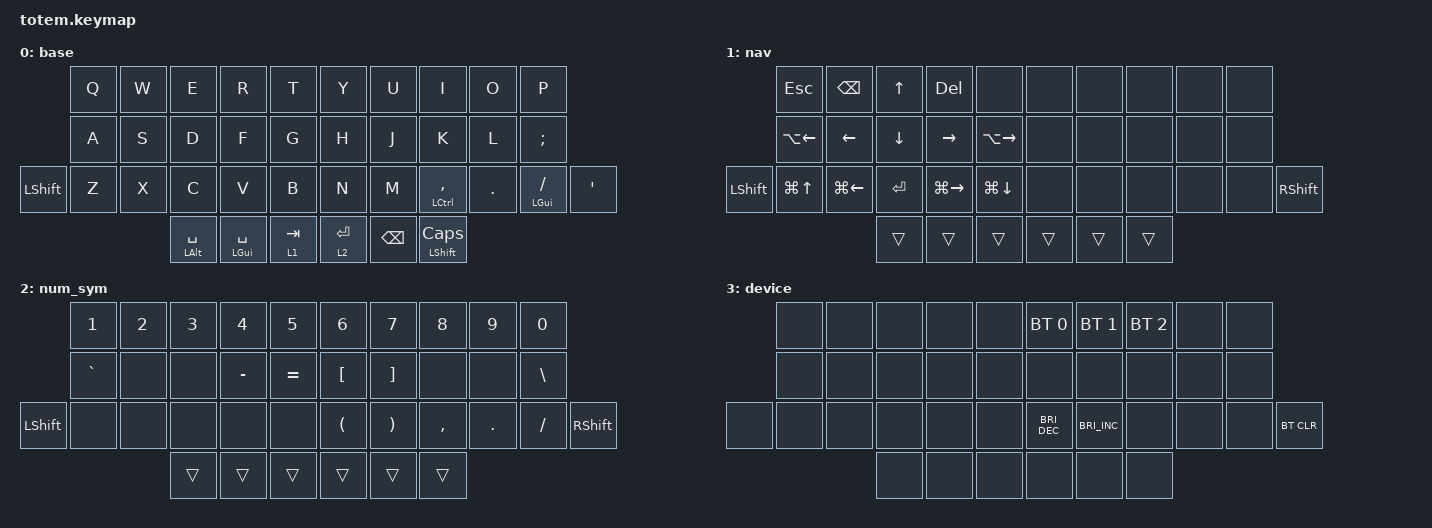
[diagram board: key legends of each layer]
//
//                                                        ▀▀▀▀▀     ▀▀▀▀▀          ▀▀█▀▀
//                                                        ▄▀▀▀▄  ▄  ▄▀▀▀▄  ▄  ▄▀▀▀▄  █  ▄▀▀▀▄
//                                                        █   █  █  █   █  █  █   █  █  █   █
//                                                         ▀▀▀   █   ▀▀▀   █   ▀▀▀   ▀   ▀▀▀
//                                                               █      ▄▄▄█▄▄▄    █   █  
//                                                               ▀      █  █  █     █▄█
//                                                             ▀▀▀▀▀    █  █  █      ▀
//                                                                      ▀  ▀  ▀
//
// ▄▄▄▄▄▄▄▄▄▄▄▄▄▄▄▄▄▄▄▄▄▄▄▄▄▄▄▄▄▄▄▄▄▄▄▄▄▄▄▄▄▄▄▄▄▄▄▄▄▄▄▄▄▄▄▄▄▄▄▄▄▄▄▄▄▄▄▄▄▄▄▄▄▄▄▄▄▄▄▄▄▄▄▄▄▄▄▄▄▄▄▄▄▄▄▄▄▄▄▄▄▄▄▄▄▄▄▄▄▄▄▄▄▄▄▄▄▄▄▄▄▄▄▄▄▄▄▄▄▄▄▄▄▄▄▄▄▄▄▄▄▄▄▄▄▄▄▄▄

#include <behaviors.dtsi>
#include <dt-bindings/zmk/bt.h>
#include <dt-bindings/zmk/keys.h>

/ {
    keymap {
        compatible = "zmk,keymap";

        base {
            bindings = <
                &kp Q  &kp W  &kp E               &kp R               &kp T        &kp Y        &kp U          &kp I                    &kp O    &kp P
                &kp A  &kp S  &kp D               &kp F               &kp G        &kp H        &kp J          &kp K                    &kp L    &kp SEMI
&kp LEFT_SHIFT  &kp Z  &kp X  &kp C               &kp V               &kp B        &kp N        &kp M          &mt LEFT_CONTROL COMMA   &kp DOT  &mt LEFT_GUI FSLH  &kp APOS
                              &mt LEFT_ALT SPACE  &mt LEFT_GUI SPACE  &lt 1 TAB    &lt 2 ENTER  &kp BACKSPACE  &mt LEFT_SHIFT CAPSLOCK
            >;
        };

        nav {
            bindings = <
                &kp ESCAPE          &kp BACKSPACE  &kp UP     &kp DELETE     &none                 &none   &none   &none   &none  &none
                &kp LA(LEFT_ARROW)  &kp LEFT       &kp DOWN   &kp RIGHT      &kp LA(RIGHT)         &none   &none   &none   &none  &none
&kp LEFT_SHIFT  &kp LG(UP_ARROW)    &kp LG(LEFT)   &kp ENTER  &kp LG(RIGHT)  &kp LG(DOWN_ARROW)    &none   &none   &none   &none  &none  &kp RIGHT_SHIFT
                                                   &trans     &trans         &trans                &trans  &trans  &trans
            >;
        };

        num_sym {
            bindings = <
                &kp N1     &kp N2  &kp N3  &kp N4     &kp N5       &kp N6                &kp N7                 &kp N8     &kp N9      &kp N0
                &kp GRAVE  &none   &none   &kp MINUS  &kp EQUAL    &kp LEFT_BRACKET      &kp RIGHT_BRACKET      &none      &none       &kp BACKSLASH
&kp LEFT_SHIFT  &none      &none   &none   &none      &none        &kp LEFT_PARENTHESIS  &kp RIGHT_PARENTHESIS  &kp COMMA  &kp PERIOD  &kp SLASH      &kp RIGHT_SHIFT
                                   &trans  &trans     &trans       &trans                &trans                 &trans
            >;
        };

        device {
            bindings = <
       &none  &none  &none  &none  &none    &bt BT_SEL 0          &bt BT_SEL 1          &bt BT_SEL 2  &none  &none
       &none  &none  &none  &none  &none    &none                 &none                 &none         &none  &none
&none  &none  &none  &none  &none  &none    &kp C_BRIGHTNESS_DEC  &kp C_BRIGHTNESS_INC  &none         &none  &none  &bt BT_CLR
                     &none  &none  &none    &none                 &none                 &none
            >;
        };
    };

    conditional_layers {
        compatible = "zmk,conditional-layers";

        device {
            if-layers = <2 1>;
            then-layer = <3>;
        };
    };
};
